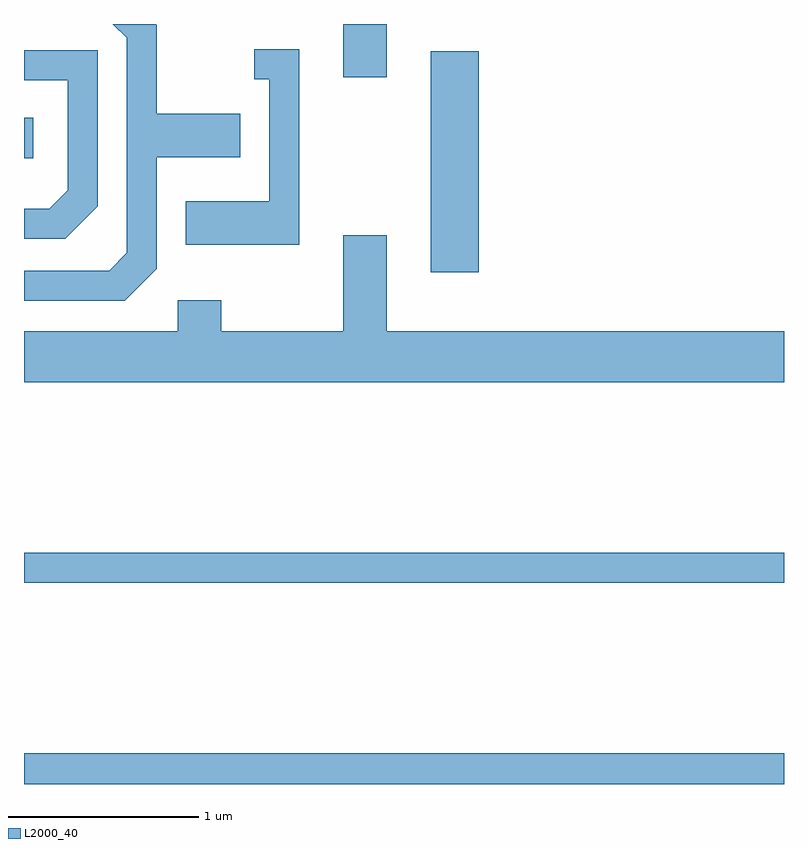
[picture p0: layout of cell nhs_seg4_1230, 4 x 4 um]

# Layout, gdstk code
import gdstk
lib = gdstk.Library(unit=1e-6, precision=1e-09)
def R(c, l, rs):  # rectangles x0, y0, x1, y1
    for r in rs: c.add(gdstk.rectangle(r[:2], r[2:], *l))
def P(c, l, *ps):  # polygons
    for p in ps: c.add(gdstk.Polygon(p, *l))
L2000_40 = (2000, 40)

nhs_seg4_1230 = lib.new_cell('nhs_seg4_1230')
R(nhs_seg4_1230, L2000_40, [(221.611,1265.982,225.611,1266.144), (221.611,1267.041,225.611,1267.199), (223.751,1268.676,224.004,1269.839), (221.611,1269.276,221.659,1269.489), (223.291,1269.701,223.519,1269.982)])
P(nhs_seg4_1230, L2000_40, [(222.309,1268.694),(222.309,1269.281),(222.749,1269.281),(222.749,1269.509),(222.309,1269.509),(222.309,1269.977),(222.304,1269.982),(222.078,1269.982),(222.151,1269.909),(222.151,1268.777),(222.059,1268.684),(221.613,1268.684),(221.613,1268.526),(222.142,1268.526)],
  [(223.059,1269.849),(222.823,1269.849),(222.823,1269.691),(222.901,1269.691),(222.901,1269.049),(222.461,1269.049),(222.461,1268.821),(223.059,1268.821)],
  [(221.999,1269.024),(221.999,1269.844),(221.611,1269.844),(221.611,1269.686),(221.841,1269.686),(221.841,1269.107),(221.744,1269.009),(221.611,1269.009),(221.611,1268.851),(221.827,1268.851)],
  [(225.611,1268.364),(223.519,1268.364),(223.519,1268.869),(223.291,1268.869),(223.291,1268.364),(222.649,1268.364),(222.649,1268.529),(222.421,1268.529),(222.421,1268.364),(221.611,1268.364),(221.611,1268.096),(225.611,1268.096)])

lib.write_gds('nhs_seg4_1230.gds')
